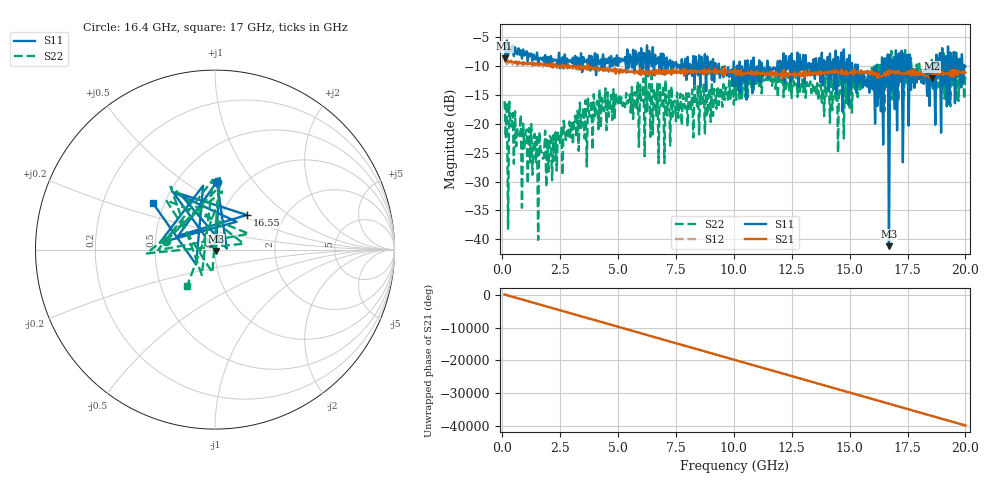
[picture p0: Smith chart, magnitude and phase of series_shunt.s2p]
#  HZ  S  RI  R  1.00
! Rohde & Schwarz ZVA67 4Ports - Version 4.11 - 1305.7002k04 SN: 101032
! Date: 2023-06-01 16:27:10
! Measurements: S11 S21 S12 S22
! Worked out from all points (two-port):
!   399 points, 100 MHz to 20 GHz, reference 1 ohm
!   highest |S21| = -8.65 dB at 100 MHz (marker M1); lowest = -12.1 dB at 18.55 GHz (marker M2)
!   |S21| within 3 dB of the highest: start of sweep to 9.55 GHz; 13.06 GHz to 16.18 GHz (3.114 GHz wide, 21.3 % of centre) (the widest 2 of 21)
!   lowest |S11| = -41.2 dB at 16.7 GHz (marker M3), VSWR 1.02, Z = 1.01 - j0.0155 ohm
!   |S11| at or under -10 dB: 9.359 GHz to 9.99 GHz (631.4 MHz wide, 6.53 % of centre); 15.35 GHz to 16.15 GHz (795.2 MHz wide, 5.05 % of centre); 17.62 GHz to 18.4 GHz (779.7 MHz wide, 4.33 % of centre) (the widest 3 of 112)
!   |S22| runs from -40.1 to -7.2 dB; largest |S21 - S12| = 0.74
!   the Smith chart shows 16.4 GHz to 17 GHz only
!   S11 on the Smith chart (normalised r, x): 16.4 GHz: 0.76, +0.67; 16.55 GHz: 1.31, +0.54; 17 GHz: 0.43, +0.28
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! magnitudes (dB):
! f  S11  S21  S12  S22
! 100 MHz  -6.1  -8.7  -8.6  -16.1
! 250 MHz  -8.1  -9.0  -9.4  -38.2
! 300 MHz  -6.6  -9.3  -9.0  -16.2
! 850 MHz  -8.7  -9.6  -9.8  -34.6
! 1.5 GHz  -7.6  -9.7  -9.8  -21.9
! 1.55 GHz  -9.4  -9.6  -10.0  -40.1
! 1.6 GHz  -8.7  -9.8  -9.6  -21.4
! 3.45 GHz  -11.0  -10.4  -10.5  -19.7
! 6.75 GHz  -8.4  -11.3  -11.2  -26.8
! 10.05 GHz  -13.4  -10.5  -11.0  -10.9
! 13.4 GHz  -11.5  -11.3  -10.8  -13.2
! 16.4 GHz  -8.5  -11.6  -11.8  -11.2
! 16.55 GHz  -11.6  -11.7  -11.3  -8.2
! 16.65 GHz  -8.0  -11.6  -11.5  -10.0
! 16.7 GHz  -41.2  -10.7  -10.7  -8.2
! 16.75 GHz  -8.0  -11.4  -11.2  -15.9
! 17 GHz  -7.3  -10.9  -10.7  -11.8
! 17.25 GHz  -7.3  -11.3  -11.6  -9.8
! 17.3 GHz  -26.7  -11.3  -11.1  -7.7
! 17.35 GHz  -7.8  -11.2  -11.8  -15.1
! 18.55 GHz  -12.0  -12.1  -11.7  -8.9
! 20 GHz  -10.0  -11.1  -11.1  -11.1
